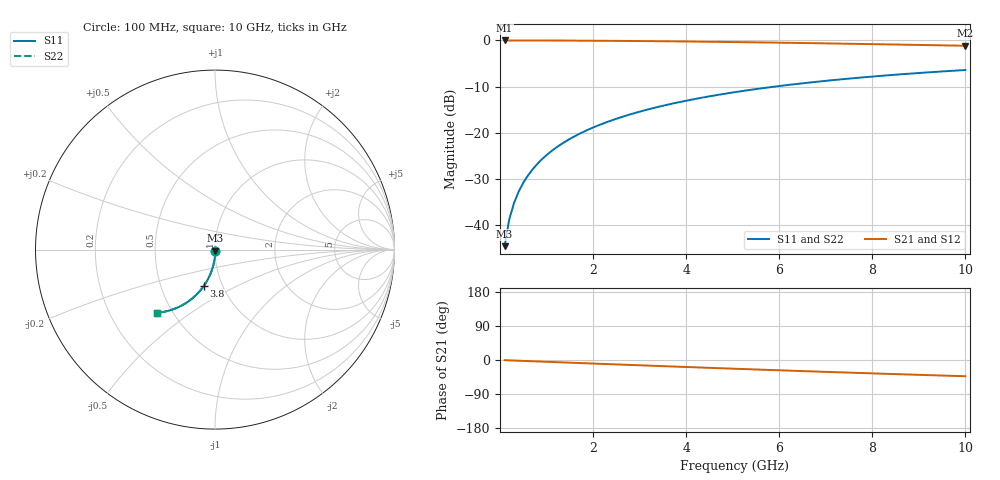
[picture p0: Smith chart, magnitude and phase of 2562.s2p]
# Hz S RI R 50.00
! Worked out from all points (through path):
!   100 points, 100 MHz to 10 GHz, reference 50 ohm
!   highest |S21| = -0.01 dB at 100 MHz (marker M1); lowest = -1.2 dB at 10 GHz (marker M2)
!   group delay of S21, straight-line fit = 12 ps
!   lowest |S11| = -44.5 dB at 100 MHz (marker M3), VSWR 1.01, Z = 50.1 - j0.58 ohm
!   |S11| at or under -10 dB: start of sweep to 5.895 GHz
!   |S22| runs from -44.5 to -6.4 dB; largest |S21 - S12| = 0
!   S11 on the Smith chart (normalised r, x): 100 MHz: 1.00, -0.01; 3.8 GHz: 0.82, -0.35; 10 GHz: 0.41, -0.37
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1e8  0.00151 -0.00578  0.9984 -0.00818  0.9984 -0.00818  0.00151 -0.00578
2e8  0.00138 -0.0116  0.9982 -0.0164  0.9982 -0.0164  0.00138 -0.0116
3e8  0.00114 -0.0173  0.9979 -0.0245  0.9979 -0.0245  0.00114 -0.0173
4e8  0.00081 -0.0231  0.9976 -0.0327  0.9976 -0.0327  0.00081 -0.0231
5e8  0.000384 -0.0288  0.9971 -0.0408  0.9971 -0.0408  0.000384 -0.0288
6e8  -0.000136 -0.0346  0.9966 -0.049  0.9966 -0.049  -0.000136 -0.0346
7e8  -0.000751 -0.0403  0.9959 -0.0571  0.9959 -0.0571  -0.000751 -0.0403
8e8  -0.00146 -0.0461  0.9951 -0.0652  0.9951 -0.0652  -0.00146 -0.0461
9e8  -0.00226 -0.0518  0.9943 -0.0734  0.9943 -0.0734  -0.00226 -0.0518
1.1e9  -0.00414 -0.0631  0.9923 -0.0895  0.9923 -0.0895  -0.00414 -0.0631
1.4e9  -0.00764 -0.08  0.9885 -0.1136  0.9885 -0.1136  -0.00764 -0.08
1.8e9  -0.0136 -0.1021  0.9822 -0.1453  0.9822 -0.1453  -0.0136 -0.1021
2.1e9  -0.0189 -0.1184  0.9765 -0.1688  0.9765 -0.1688  -0.0189 -0.1184
2.5e9  -0.0272 -0.1395  0.9676 -0.1996  0.9676 -0.1996  -0.0272 -0.1395
2.9e9  -0.0368 -0.16  0.9574 -0.2296  0.9574 -0.2296  -0.0368 -0.16
3.4e9  -0.0505 -0.1844  0.9428 -0.2661  0.9428 -0.2661  -0.0505 -0.1844
3.8e9  -0.0627 -0.2029  0.9297 -0.2942  0.9297 -0.2942  -0.0627 -0.2029
4.4e9  -0.0828 -0.2289  0.9081 -0.3347  0.9081 -0.3347  -0.0828 -0.2289
5.1e9  -0.1088 -0.2562  0.8801 -0.379  0.8801 -0.379  -0.1088 -0.2562
6.7e9  -0.1754 -0.3058  0.8078 -0.4675  0.8078 -0.4675  -0.1754 -0.3058
8.4e9  -0.2519 -0.3385  0.7233 -0.542  0.7233 -0.542  -0.2519 -0.3385
1e10  -0.3243 -0.3518  0.6417 -0.5951  0.6417 -0.5951  -0.3243 -0.3518
